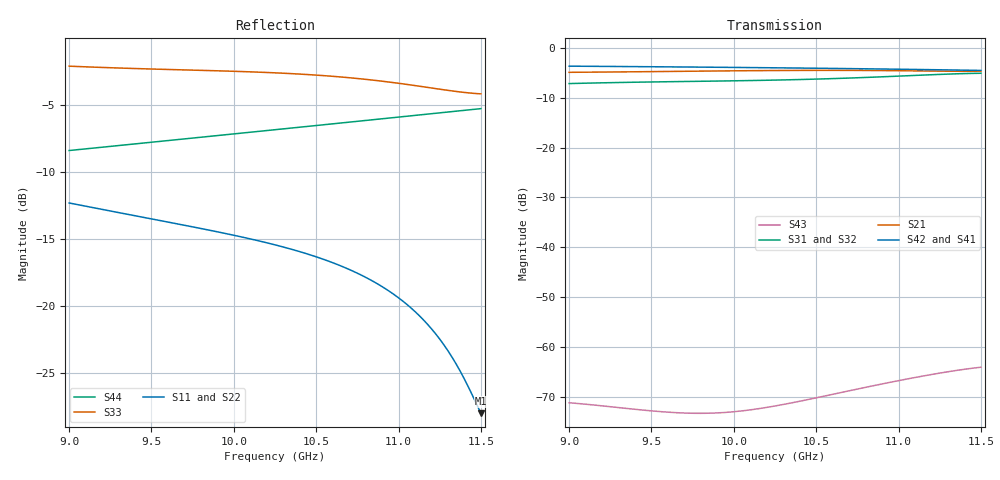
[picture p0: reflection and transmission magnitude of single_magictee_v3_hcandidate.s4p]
! Touchstone file exported from HFSS 2025.2.4
!  File:  C:/Users/chaoy/Documents/single_magictee_v3_3_H_candidate_baseline/single_magictee_v3_hcandidate.aedt
!  Generated:  04:48:17 PM Sep 19, 2026
!  Design:  SingleMagicT_v3_HCandidate
!  Project:  single_magictee_v3_hcandidate
! Variables:
!  f_adapt = 10.2GHz
!  h_terminal_ridge_w = 4.572mm
!  h_throat_a = 18.8mm
!  h_throat_len = 5.5mm
!  ridge_g1 = 7.672mm
!  ridge_g2 = 5.8mm
!  ridge_l1 = 9.872mm
!  ridge_l2 = 8.857mm
!  ridge_w = 4.572mm
!  terminal_ridge_len = 7.5mm
!  wg_a = 22.86mm
!  wg_b = 10.16mm
!Data is not renormalized
# GHz S MA
! Terminal data exported
! Port[1] = P1_CollinearMinusX
! Port[2] = P2_CollinearPlusX
! Port[3] = P3_HArm_Ridged
! Port[4] = P4_EArm
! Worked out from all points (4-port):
!   101 points, 9 GHz to 11.5 GHz, reference per port
!   strongest paths, dB at 9 GHz, 9.625 GHz, 10.25 GHz, 10.88 GHz, 11.5 GHz:
!     S42: -3.7, -3.8, -4.0, -4.2, -4.5
!     S41: -3.7, -3.8, -4.0, -4.2, -4.5
!     S21: -4.9, -4.7, -4.6, -4.6, -4.7
!     S31: -7.2, -6.8, -6.5, -5.9, -5.1
!     S32: -7.2, -6.8, -6.5, -5.9, -5.1
!     S43: -71.2, -73.1, -71.8, -67.6, -64.0
!   lowest |S11| = -28.0 dB at 11.5 GHz (marker M1), VSWR 1.08
!   |S11| at or under -10 dB: start of sweep to end of sweep
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9  0.2423 159.0  0.5676 -170.1  0.4378 82.9  0.6538 47.1
   0.5676 -170.1  0.242 159.2  0.4375 82.9  0.6541 -132.8
   0.4378 82.9  0.4375 82.9  0.7855 164.9  0.0002764 -108.8
   0.6538 47.1  0.6541 -132.8  0.0002764 -108.8  0.3804 -114.6
9.5  0.2113 103.9  0.5768 134.2  0.4543 16.8  0.6452 -9.6
     0.5768 134.2  0.2109 104.0  0.454 16.8  0.6456 170.4
     0.4543 16.8  0.454 16.8  0.7665 87.4  0.0002293 -175.6
     0.6452 -9.6  0.6456 170.4  0.0002293 -175.6  0.4085 -168.5
10.025  0.1822 47.7  0.5879 78.0  0.4672 -50.8  0.6347 -66.8
        0.5879 78.0  0.1818 47.8  0.4669 -50.8  0.635 113.3
        0.4672 -50.8  0.4669 -50.8  0.7508 7.4  0.0002268 129.3
        0.6347 -66.8  0.635 113.3  0.0002268 129.3  0.4404 136.5
10.4  0.1595 7.2  0.5932 38.9  0.4805 -98.5  0.6259 -106.5
      0.5932 38.9  0.1593 7.4  0.4803 -98.4  0.6262 73.6
      0.4805 -98.5  0.4803 -98.4  0.7338 -49.3  0.0002862 86.7
      0.6259 -106.5  0.6262 73.6  0.0002862 86.7  0.4649 97.9
10.7  0.1369 -25.6  0.5933 8.3  0.4972 -136.9  0.6181 -137.7
      0.5933 8.3  0.1368 -25.3  0.4969 -136.9  0.6183 42.3
      0.4972 -136.9  0.4969 -136.9  0.7113 -95.9  0.0003641 45.6
      0.6181 -137.7  0.6183 42.3  0.0003641 45.6  0.4855 67.3
11.15  0.0889 -73.8  0.5856 -35.8  0.5326 162.8  0.6046 176.0
       0.5856 -35.8  0.08871 -73.2  0.5323 162.8  0.6049 -4.0
       0.5326 162.8  0.5323 162.8  0.658 -173.9  0.0005127 -26.3
       0.6046 176.0  0.6049 -4.0  0.0005127 -26.3  0.5182 21.8
11.5  0.03975 -89.5  0.582 -67.2  0.5554 111.3  0.5926 140.3
      0.582 -67.2  0.03965 -88.0  0.5551 111.3  0.5929 -39.6
      0.5554 111.3  0.5551 111.3  0.6191 111.2  0.0006276 -90.3
      0.5926 140.3  0.5929 -39.6  0.0006276 -90.3  0.5453 -13.7
